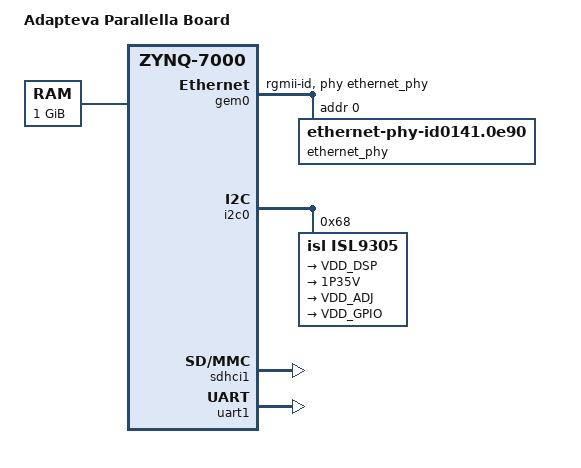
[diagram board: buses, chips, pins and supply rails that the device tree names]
/*
 * Copyright (c) 2014 SUSE LINUX Products GmbH
 *
 * Derived from zynq-zed.dts:
 *
 *  Copyright (C) 2011 Xilinx
 *  Copyright (C) 2012 National Instruments Corp.
 *  Copyright (C) 2013 Xilinx
 *
 * This software is licensed under the terms of the GNU General Public
 * License version 2, as published by the Free Software Foundation, and
 * may be copied, distributed, and modified under those terms.
 *
 * This program is distributed in the hope that it will be useful,
 * but WITHOUT ANY WARRANTY; without even the implied warranty of
 * MERCHANTABILITY or FITNESS FOR A PARTICULAR PURPOSE.  See the
 * GNU General Public License for more details.
 */
/dts-v1/;
/include/ "zynq-7000.dtsi"

/ {
	model = "Adapteva Parallella Board";
	compatible = "adapteva,parallella", "xlnx,zynq-7000";

	memory {
		device_type = "memory";
		reg = <0x0 0x40000000>;
	};

	chosen {
		bootargs = "console=ttyPS0,115200 earlyprintk root=/dev/mmcblk0p2 rootfstype=ext4 rw rootwait";
		linux,stdout-path = "/amba/serial@e0001000";
	};
};

&gem0 {
	status = "okay";
	phy-mode = "rgmii-id";
	phy-handle = <&ethernet_phy>;

	ethernet_phy: ethernet-phy@0 {
		/* Marvell 88E1318 */
		compatible = "ethernet-phy-id0141.0e90",
		             "ethernet-phy-ieee802.3-c22";
		reg = <0>;
		marvell,reg-init = <0x3 0x10 0xff00 0x1e>,
		                   <0x3 0x11 0xfff0 0xa>;
	};
};

&i2c0 {
	status = "okay";

	isl9305: isl9305@68 {
		compatible = "isl,isl9305";
		reg = <0x68>;

		regulators {
			dcd1 {
				regulator-name = "VDD_DSP";
				regulator-always-on;
			};
			dcd2 {
				regulator-name = "1P35V";
				regulator-always-on;
			};
			ldo1 {
				regulator-name = "VDD_ADJ";
			};
			ldo2 {
				regulator-name = "VDD_GPIO";
				regulator-always-on;
			};
		};
	};
};

&sdhci1 {
	status = "okay";
};

&uart1 {
	status = "okay";
};
